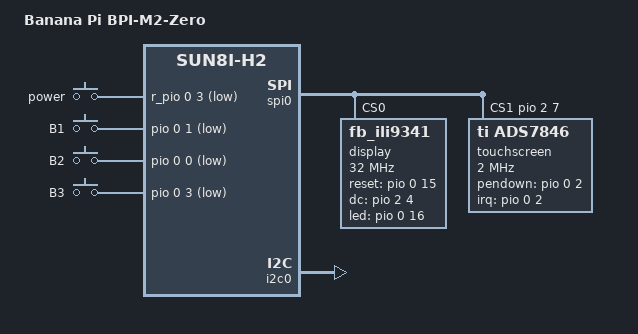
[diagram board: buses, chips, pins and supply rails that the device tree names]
// SPDX-License-Identifier: (GPL-2.0+ OR MIT)
/*
 * Copyright (C) 2017 Icenowy Zheng <icenowy@aosc.io>
 *
 * Based on sun8i-h3-bananapi-m2-plus.dts, which is:
 *   Copyright (C) 2016 Chen-Yu Tsai <wens@csie.org>
 */

/dts-v1/;
#include "sun8i-h2-plus-bananapi-m2-zero.dts"

/ {
	model = "Banana Pi BPI-M2-Zero";
	compatible = "sinovoip,bpi-m2-zero", "allwinner,sun8i-h2-plus";

	gpio_keys {
		compatible = "gpio-keys";
		pinctrl-names = "default";

      		pinctrl-0 = <&gpio_button_0>;      
		//address-cells = <1>;
      		//size-cells = <0>;
      		//autorepeat;

		sw4 {
			label = "power";
			linux,code = <BTN_0>;
			gpios = <&r_pio 0 3 GPIO_ACTIVE_LOW>;
		};

		btn1 {
			label = "B1";
			linux,code = <BTN_1>;
			gpios = <&pio 0 1 GPIO_ACTIVE_LOW>;
		};

		btn2 {
			label = "B2";
			linux,code = <BTN_2>;
			gpios = <&pio 0 0 GPIO_ACTIVE_LOW>;
		};

		btn3 {
			label = "B3";
			linux,code = <BTN_3>;
			gpios = <&pio 0 3 GPIO_ACTIVE_LOW>;
		};
	};
};

&pio {
	__overlay__ {
		fbtft_rst: fbtft_rst {
			pins = "PA15";
			function = "gpio_out";
		};

		fbtft_dc: fbtft_dc {
			pins = "PC4";
			function = "gpio_out";
		};

		fbtft_led: fbtft_led {
			pins = "PA16";
			function = "gpio_out";
		};

		ads7846_pins: ads7846_pins {
			pins= "PA2";
			function = "irq";
		};

		spi0_cs0: spi0_cs0 {
			pins = "PC3";
			function = "gpio_out";
			output-high;
		};

		spi0_cs1: spi0_cs1 {
			pins = "PC7";
			function = "gpio_out";
			output-high;
		};

		gpio_button_0: gpio_button_0 {
			pins= "PA0", "PA1", "PA3";
			function = "irq";
			bias-pull-up;
		};

	};
};

&spi0 {
	status = "okay";
	num-cs = <2>;

	pins = "PC0", "PC1", "PC2", "PC3", "PC7";

		pinctrl-names = "default", "default";
		//pinctrl-0 = <&spi0_cs0>;
		pinctrl-1 = <&spi0_cs1>;
		cs-gpios = <0>, <&pio 2 7 0>; /* + PC7 */


/* modprobe fbtft_device custom name=rpi-display gpios=reset:15,led:16,dc:68 cs=0 speed=32000000 rotate=180 busnum=0 */
/* modprobe ads7846 model=7846 cs=1 gpio_pendown=25 speed=2000000 keep_vref_on=1 x_plate_ohms=60 pressure_max=255 x_min=200 x_max=3900 y_min=200 y_max=3900 */
/* modprobe ads7846 gpio_pendown=25 speed=2000000 keep_vref_on=1 x_plate_ohms=60 pressure_max=255 x_min=200 x_max=3900 y_min=200 y_max=3900 */

	display: rpi-display@0 {
		compatible = "fb_ili9341";
		reg = <0>;
		status = "okay";

		pinctrl-names = "default";
		pinctrl-0 = <&fbtft_rst &fbtft_dc &fbtft_led>;

		spi-max-frequency = <32000000>;
		rotate = <180>;
		bgr = <0>;
		fps = <50>;
		buswidth = <8>;
		backlight = <0>;
		readwrite = <1>;
		reset-gpios = <&pio 0 15 0>;	/* PA15, pio out */
		dc-gpios = <&pio 2 4 0>;	/* PC4, pio out */
		led-gpios = <&pio 0 16 0>;	/* PA16, pio out */
		debug = <0>;
	};

	touchscreen: ads7846@1 {
		compatible = "ti,ads7846";
		reg = <1>; /* Chip Select 1 */
		status = "okay";

		pinctrl-names = "default";
		pinctrl-0 = <&ads7846_pins>;
		spi-max-frequency = <2000000>;
		interrupt-parent = <&pio>;
		interrupts = <0 2 2>; /* PA2 IRQ_TYPE_EDGE_FALLING */
		pendown-gpio = <&pio 0 2 0>; /* PA2 */

		/* driver defaults, optional */
		ti,x-min = /bits/ 16 <200>;
		ti,x-max = /bits/ 16 <3900>;
		ti,y-min = /bits/ 16 <200>;
		ti,y-max = /bits/ 16 <3900>;
		ti,swap-xy = <0>;
		ti,pressure-min = /bits/ 16 <0>;
		ti,pressure-max = /bits/ 16 <255>;
		ti,x-plate-ohms = /bits/ 16 <60>;
		ti,debounce_max = /bits/ 16 <15000>;
		ti,debounce_tol = /bits/ 16 <65535>;
		ti,debounce_rep = /bits/ 16 <100>;
		ti,vref-delay-usecs = /bits/ 16 <450>;
		ti,keep_vref_on =  <1>;
		ti,settle_delay_usecs = /bits/ 16 <100>;
		ti,penirq-recheck-delay-usecs = /bits/ 16 <100>;
	};
};

&i2c0 {
	pinctrl-names = "default";
	pinctrl-0 = <&i2c0_pins>;
	status = "okay";
};

/*
 * EOF
 */


